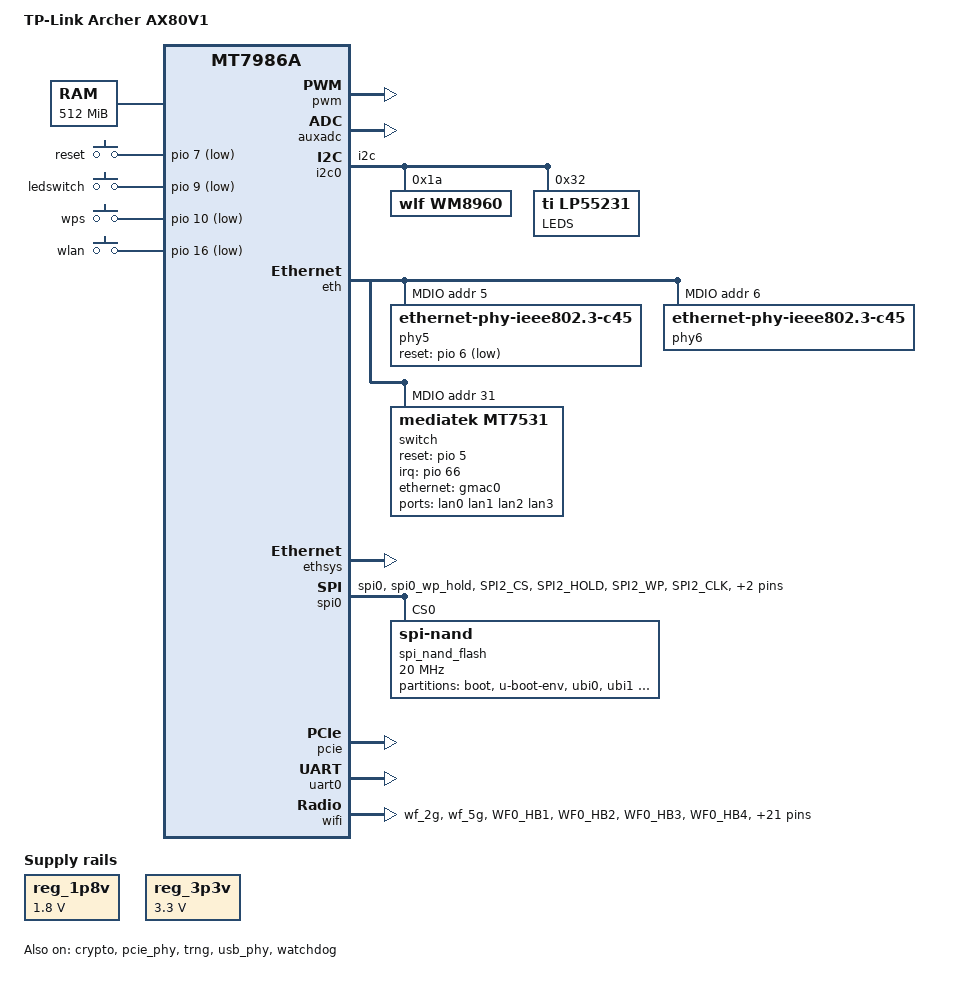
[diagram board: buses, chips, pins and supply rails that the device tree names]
// SPDX-License-Identifier: GPL-2.0-or-later OR MIT

/dts-v1/;
#include <dt-bindings/gpio/gpio.h>
#include <dt-bindings/input/input.h>
#include <dt-bindings/leds/common.h>


#include "mt7986a.dtsi"

/ {
	model = "TP-Link Archer AX80V1";
	compatible = "tplink,archer-ax80-v1", "mediatek,mt7986a";

	aliases {
		serial0 = &uart0;
	};

	chosen {
		stdout-path = "serial0:115200n8";
	};

	memory {
		reg = <0 0x40000000 0 0x20000000>;
	};
	keys {
		compatible = "gpio-keys-polled";
		poll-interval = <100>;

		reset {
			label = "reset";
			linux,code = <KEY_RESTART>;
			gpios = <&pio 7 GPIO_ACTIVE_LOW>;
			linux,input-type = <1>;
		};
		ledswitch {
			label = "ledswitch";
			linux,code = <KEY_BRIGHTNESS_ZERO>;
			gpios = <&pio 9 GPIO_ACTIVE_LOW>;
			linux,input-type = <1>;
		};
		wps {
			label = "wps";
			linux,code = <KEY_WPS_BUTTON>;
			gpios = <&pio 10 GPIO_ACTIVE_LOW>;
			linux,input-type = <1>;
		};
		wifi {
			label = "wlan";
			linux,code = <KEY_WLAN>;
			gpios = <&pio 16 GPIO_ACTIVE_LOW>;
			linux,input-type = <1>;
		};
	};

	reg_1p8v: regulator-1p8v {
		compatible = "regulator-fixed";
		regulator-name = "fixed-1.8V";
		regulator-min-microvolt = <1800000>;
		regulator-max-microvolt = <1800000>;
		regulator-boot-on;
		regulator-always-on;
	};

	reg_3p3v: regulator-3p3v {
		compatible = "regulator-fixed";
		regulator-name = "fixed-3.3V";
		regulator-min-microvolt = <3300000>;
		regulator-max-microvolt = <3300000>;
		regulator-boot-on;
		regulator-always-on;
	};
		sound {
		compatible = "mediatek,mt7986-wm8960-machine";
		mediatek,platform = <&afe>;
		audio-routing = "Headphone", "HP_L",
				"Headphone", "HP_R",
				"LINPUT1", "AMIC",
				"RINPUT1", "AMIC";
		mediatek,audio-codec = <&wm8960>;
		status = "okay";
	};

};
&pwm {
	status = "okay";
};
&crypto {
	status = "okay";
};

&auxadc {
        status = "okay";
};
&i2c0 {
        pinctrl-names = "default";
        pinctrl-0 = <&i2c_pins>;
        status = "okay";

	wm8960: wm8960@1a {
		compatible = "wlf,wm8960";
		reg = <0x1a>;
	};
};
&eth {
	status = "okay";
	gmac0: mac@0 {
		compatible = "mediatek,eth-mac";
		reg = <0>;
		phy-mode = "2500base-x";
		fixed-link {
			speed = <2500>;
			full-duplex;
			pause;
		};
	};
	gmac1: mac@1 {
		compatible = "mediatek,eth-mac";
		reg = <1>;
		phy-handle = <&phy6>;
		phy-mode = "2500base-x";
	};
	mdio: mdio-bus {
		#address-cells = <1>;
		#size-cells = <0>;
	};
};
&ethsys { 
	    status = "okay";
};
&mdio {
	    #address-cells = <1>;
	    #size-cells = <0>;

	phy5: phy@5 {
			compatible = "ethernet-phy-ieee802.3-c45";
			reg = <5>;
			reset-gpios = <&pio 6 1>;
			reset-deassert-us = <20000>;
			phy-mode = "2500base-x";
		};

	phy6: phy@6 {
			compatible = "ethernet-phy-ieee802.3-c45";
			reg = <6>;
			
		};

    switch: switch@31 {
		compatible = "mediatek,mt7531";
		reg = <31>;
		reset-gpios = <&pio 5 GPIO_ACTIVE_HIGH>;
		interrupt-controller;
		#interrupt-cells = <1>;
		interrupt-parent = <&pio>;
		interrupts = <66 IRQ_TYPE_LEVEL_HIGH>;
	};
};
&spi0 {
	pinctrl-names = "default";
	pinctrl-0 = <&spi_flash_pins>;
	status = "okay";
	spi_nand_flash: flash@0 {
		compatible = "spi-nand";
		#address-cells = <1>;
		#size-cells = <1>;
		reg = <0>;
		spi-max-frequency = <20000000>;
		spi-tx-bus-width = <4>;
		spi-rx-bus-width = <4>;
		partitions: partitions {
			compatible = "fixed-partitions";
			#address-cells = <1>;
			#size-cells = <1>;
		};
	};
};
&partitions {
			partition@0 {
				label = "boot";
				reg = <0x0 0x200000>;
				read-only;
			};

			partition@200000 {
				label = "u-boot-env";
				reg = <0x200000 0x100000>;
			};

			partition@300000 {
				label = "ubi0";
				reg = <0x300000 0x3200000>;
			};

			partition@3500000 {
				label = "ubi1";
				reg = <0x3500000 0x3200000>;
				
			};

			partition@6700000 {
				label = "userconfig";
				reg = <0x6700000 0x800000>;
				
			};

			factory: partition@6f00000 {
				label = "tp_data";
				reg = <0x6f00000 0x400000>;
				
			};
			
			partition@7300000 {
				label = "mali_data";
				reg = <0x7300000 0x800000>;
			};
};
&switch {
	ports {
		#address-cells = <1>;
		#size-cells = <0>;

		port@0 {
			reg = <0>;
			label = "lan0";
		};

		port@1 {
			reg = <1>;
			label = "lan1";
		};

		port@2 {
			reg = <2>;
			label = "lan2";
		};

		port@3 {
			reg = <3>;
			label = "lan3";
		};

		port@6 {
			reg = <6>;
			ethernet = <&gmac0>;
			phy-mode = "2500base-x";

			fixed-link {
				speed = <2500>;
				full-duplex;
				pause;
			};
		};
	};
};
&pcie {
	status = "okay";
};
&pcie_phy{
	status = "okay";
};

&pio {
		wifi_led_pins: wifi_led-pins-1-2 {
		mux {
			function = "led";
			groups = "wifi_led";
		};
	};

	i2c_pins: i2c-pins-3-4 {
		mux {
			function = "i2c";
			groups = "i2c";
		};
	};

	uart1_pins_g0: uart1-pins-7-to-10 {
		mux {
			function = "uart";
			groups = "uart1_0";
		};
	};

	pcie_pins: pcie0-pins-9-10-41 {
		mux {
			function = "pcie";
			groups = "pcie_clk", "pcie_wake", "pcie_pereset";
		};
	};

	jtag_pins: jtag-pins-11-to-14 {
		mux {
			function = "jtag";
			groups = "jtag";
		};
	};

	spic_pins_g0: spic-pins-11-to-14 {
		mux {
			function = "spi";
			groups = "spi1_0";
		};
	};

	pwm1_pin_g0: pwm1-pin-20 {
		mux {
			function = "pwm";
			groups = "pwm1_1";
		};
	};

	pwm0_pin: pwm0-pin-21 {
		mux {
			function = "pwm";
			groups = "pwm0";
		};
	};

	pwm1_pin_g1: pwm1-pin-22 {
		mux {
			function = "pwm";
			groups = "pwm1_0";
		};
	};

	spic_pins_g1: spic-pins-23-to-26 {
		mux {
			function = "spi";
			groups = "spi1_1";
		};
	};

	uart1_pins_g1: uart1-pins-23-to-26 {
		mux {
			function = "uart";
			groups = "uart1_1";
		};
	};

	snfi_pins: snfi-pins-23-to-28 {
		mux {
			function = "flash";
			groups = "snfi";
		};
		conf-clk {
			pins = "SPI0_CLK";
			drive-strength = <8>;
			mediatek,pull-down-adv = <0>;	/* bias-disable */
		};
		conf-pu {
			pins = "SPI0_CS", "SPI0_HOLD", "SPI0_WP";
			drive-strength = <6>;
			mediatek,pull-up-adv = <0>;	/* bias-disable */
		};
		conf-pd {
			pins = "SPI0_MOSI", "SPI0_MISO";
			drive-strength = <6>;
			mediatek,pull-down-adv = <0>;	/* bias-disable */
		};
	};

	spic_pins_g2: spic-pins-29-to-32 {
		mux {
			function = "spi";
			groups = "spi1_2";
		};
	};

	uart1_pins_g2: uart1-pins-29-to-32 {
		mux {
			function = "uart";
			groups = "uart1_2";
		};
	};

	uart2_pins_g0: uart1-pins-29-to-32 {
		mux {
			function = "uart";
			groups = "uart1_2";
		};
	};

	uart2_pins_g1: uart1-pins-23-to-36 {
		mux {
			function = "uart";
			groups = "uart2_1";
		};
	};

	spic_pins_g3: spic-pins-33-to-36 {
		mux {
			function = "spi";
			groups = "spi1_3";
		};
	};

	uart1_pins_g3: uart1-pins-35-to-38 {
		mux {
			function = "uart";
			groups = "uart1_3_rx_tx", "uart1_3_cts_rts";
		};
	};
	spi_flash_pins: spi-flash-pins-33-to-38 {
		mux {
			function = "spi";
			groups = "spi0", "spi0_wp_hold";
		};
		conf-pu {
			pins = "SPI2_CS", "SPI2_HOLD", "SPI2_WP";
			drive-strength = <8>;
			mediatek,pull-up-adv = <0>; /* bias-disable */
		};
		conf-pd {
			pins = "SPI2_CLK", "SPI2_MOSI", "SPI2_MISO";
			drive-strength = <8>;
			mediatek,pull-down-adv = <0>; /* bias-disable */
		};
	};

		uart1_pins: uart1-pins-42-to-45 {
		mux {
			function = "uart";
			groups = "uart1";
		};
	};

	uart2_pins: uart1-pins-46-to-49 {
		mux {
			function = "uart";
			groups = "uart2";
		};
	};

	mmc0_pins_default: mmc0-pins-50-to-61-default {
		mux {
			function = "flash";
			groups = "emmc_51";
		};
		conf-cmd-dat {
			pins = "EMMC_DATA_0", "EMMC_DATA_1", "EMMC_DATA_2",
			       "EMMC_DATA_3", "EMMC_DATA_4", "EMMC_DATA_5",
			       "EMMC_DATA_6", "EMMC_DATA_7", "EMMC_CMD";
			input-enable;
			drive-strength = <4>;
			mediatek,pull-up-adv = <1>;	/* pull-up 10K */
		};
		conf-clk {
			pins = "EMMC_CK";
			drive-strength = <6>;
			mediatek,pull-down-adv = <2>;	/* pull-down 50K */
		};
		conf-ds {
			pins = "EMMC_DSL";
			mediatek,pull-down-adv = <2>;	/* pull-down 50K */
		};
		conf-rst {
			pins = "EMMC_RSTB";
			drive-strength = <4>;
			mediatek,pull-up-adv = <1>;	/* pull-up 10K */
		};
	};

	mmc0_pins_uhs: mmc0-pins-50-to-61-uhs {
		mux {
			function = "flash";
			groups = "emmc_51";
		};
		conf-cmd-dat {
			pins = "EMMC_DATA_0", "EMMC_DATA_1", "EMMC_DATA_2",
			       "EMMC_DATA_3", "EMMC_DATA_4", "EMMC_DATA_5",
			       "EMMC_DATA_6", "EMMC_DATA_7", "EMMC_CMD";
			input-enable;
			drive-strength = <4>;
			mediatek,pull-up-adv = <1>;	/* pull-up 10K */
		};
		conf-clk {
			pins = "EMMC_CK";
			drive-strength = <6>;
			mediatek,pull-down-adv = <2>;	/* pull-down 50K */
		};
		conf-ds {
			pins = "EMMC_DSL";
			mediatek,pull-down-adv = <2>;	/* pull-down 50K */
		};
		conf-rst {
			pins = "EMMC_RSTB";
			drive-strength = <4>;
			mediatek,pull-up-adv = <1>;	/* pull-up 10K */
		};
	};

	pcm_pins: pcm-pins-62-to-65 {
		mux {
			function = "pcm";
			groups = "pcm";
	 };
	};
    	wf_2g_5g_pins: wf_2g_5g-pins {
		mux {
			function = "wifi";
			groups = "wf_2g", "wf_5g";
		};
		conf {
			pins = "WF0_HB1", "WF0_HB2", "WF0_HB3", "WF0_HB4",
			       "WF0_HB0", "WF0_HB0_B", "WF0_HB5", "WF0_HB6",
			       "WF0_HB7", "WF0_HB8", "WF0_HB9", "WF0_HB10",
			       "WF0_TOP_CLK", "WF0_TOP_DATA", "WF1_HB1",
			       "WF1_HB2", "WF1_HB3", "WF1_HB4", "WF1_HB0",
			       "WF1_HB5", "WF1_HB6", "WF1_HB7", "WF1_HB8",
			       "WF1_TOP_CLK", "WF1_TOP_DATA";
			drive-strength = <4>;
		};

	};
	wf_dbdc_pins: wf-dbdc-pins {
		mux {
			function = "wifi";
			groups = "wf_dbdc";
		};
		conf {
			pins = "WF0_HB1", "WF0_HB2", "WF0_HB3", "WF0_HB4",
				"WF0_HB0", "WF0_HB0_B", "WF0_HB5", "WF0_HB6",
				"WF0_HB7", "WF0_HB8", "WF0_HB9", "WF0_HB10",
				"WF0_TOP_CLK", "WF0_TOP_DATA", "WF1_HB1",
				"WF1_HB2", "WF1_HB3", "WF1_HB4", "WF1_HB0",
				"WF1_HB5", "WF1_HB6", "WF1_HB7", "WF1_HB8",
				"WF1_TOP_CLK", "WF1_TOP_DATA";
			drive-strength = <4>;
		};
	};
};

&trng {
	status = "okay";
};

&uart0 {
	status = "okay";
};
&usb_phy {
	status = "okay";
};

&watchdog {
	status = "okay";
};

&wifi {
	status = "okay";
   	pinctrl-names = "default", "dbdc";
	pinctrl-0 = <&wf_2g_5g_pins>;
	pinctrl-1 = <&wf_dbdc_pins>;
};
&i2c0 {
	status = "okay";

		lp55231@32 {
		#address-cells = <1>;
		#size-cells = <0>;
		compatible = "ti,lp55231";
		label = "LEDS";
		reg = <0x32>;
		clock-mode = /bits/ 8 <1>; /* LP55XX_CLOCK_INT */

		chan0 {
			chan-name = "d1";
			led-cur = /bits/ 8 <0x14>;
			max-cur = /bits/ 8 <0x20>;
		};
					
		chan1 {
			chan-name = "d2";
			led-cur = /bits/ 8 <0x14>;
			max-cur = /bits/ 8 <0x20>;
		};

		chan2 {
			chan-name = "d3";
			led-cur = /bits/ 8 <0x14>;
			max-cur = /bits/ 8 <0x20>;
		};

		chan3 {
			chan-name = "d4";
			led-cur = /bits/ 8 <0x14>;
			max-cur = /bits/ 8 <0x20>;
		};

		chan4 {
			chan-name = "d5";
			led-cur = /bits/ 8 <0x14>;
			max-cur = /bits/ 8 <0x20>;
		};

		chan5 {
			chan-name = "d6";
			led-cur = /bits/ 8 <0x14>;
			max-cur = /bits/ 8 <0x20>;
		};

		chan6 {
			chan-name = "d7";
			led-cur = /bits/ 8 <0x14>;
			max-cur = /bits/ 8 <0x20>;
		};

		chan7 {
			chan-name = "d8";
			led-cur = /bits/ 8 <0x14>;
			max-cur = /bits/ 8 <0x20>;
		};

		chan8 {
			chan-name = "d9";
			led-cur = /bits/ 8 <0x14>;
			max-cur = /bits/ 8 <0x20>;
		};

       };
	};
